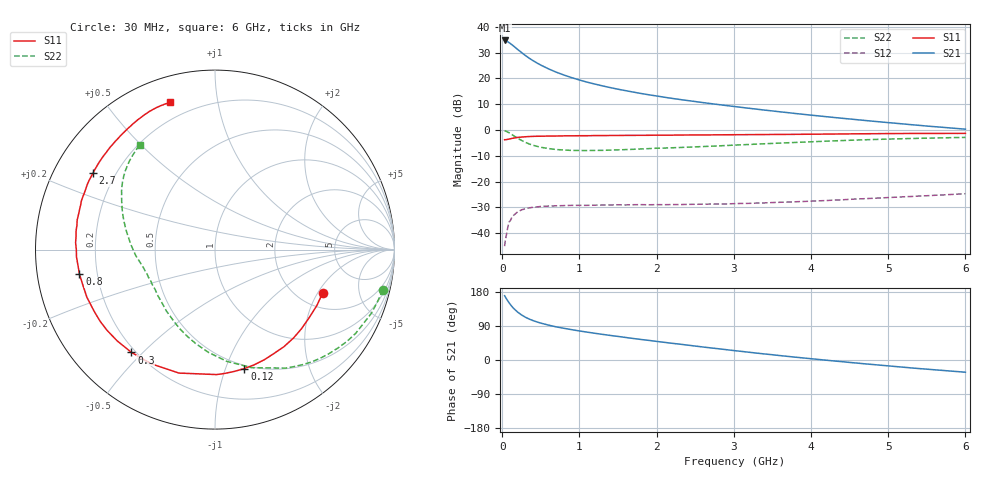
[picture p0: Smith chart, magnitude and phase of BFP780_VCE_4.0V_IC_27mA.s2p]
! Infineon Technologies  Discrete & RF Semiconductors
! BFP780
! VCE =  4.0 V,  IC =  27 mA
! Common Emitter S-Parameters:  Jul 2015
# GHz  S  MA  R  50
!  f  S11  S21  S12  S22
! GHz  MAG  ANG  MAG  ANG  MAG  ANG  MAG  ANG
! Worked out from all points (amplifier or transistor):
!   75 points, 30 MHz to 6 GHz, reference 50 ohm
!   highest |S21| = 34.7 dB at 30 MHz (marker M1)
!   |S21| within 3 dB of that: start of sweep to 179.7 MHz
!   unconditionally stable (mu >= 1): 2.194 GHz to end of sweep
!   at 150 MHz: K = 0.11, MSG = 32.7 dB, |S12| = -33.0 dB
!   at 2.3 GHz: K = 1.04, MAG = 19.1 dB, |S12| = -28.9 dB
!   at 6 GHz: K = 1.29, MAG = 9.3 dB, |S12| = -24.7 dB
!   S11 on the Smith chart (normalised r, x): 30 MHz: 2.66, -2.21; 120 MHz: 0.47, -1.16; 300 MHz: 0.18, -0.46; 800 MHz: 0.13, -0.09; 2.7 GHz: 0.12, +0.28; 6 GHz: 0.12, +0.73
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0.03  0.6467 -22.0  54.16 169.6  0.0056 72.4  0.9621 -13.5
0.05  0.6473 -35.6  52.85 162.6  0.0087 77.0  0.9406 -22.2
0.07  0.6588 -48.5  51.11 156.3  0.0127 67.3  0.9122 -30.7
0.09  0.6658 -60.6  48.89 150.4  0.0167 59.5  0.8771 -38.7
0.12  0.6826 -76.1  45.32 142.4  0.0197 53.7  0.8242 -49.5
0.15  0.6964 -89.2  41.74 135.6  0.0224 48.4  0.7695 -59.1
0.2  0.7167 -106.3  36.17 126.2  0.026 40.6  0.6892 -72.7
0.25  0.7286 -119.1  31.52 118.8  0.0283 35.3  0.626 -84.0
0.3  0.738 -129.1  27.64 112.8  0.0298 30.4  0.5736 -93.7
0.35  0.7453 -136.9  24.48 107.9  0.0309 27.3  0.5344 -101.6
0.4  0.7509 -143.1  21.92 103.9  0.0318 24.5  0.5042 -108.5
0.5  0.7558 -152.6  18.02 97.3  0.0329 20.4  0.4614 -119.6
0.6  0.7615 -159.6  15.22 92.0  0.0335 17.8  0.4358 -128.5
0.8  0.7675 -169.7  11.56 83.6  0.0342 14.5  0.4086 -141.3
1.1  0.7727 179.9  8.426 73.5  0.0346 12.2  0.3983 -154.3
1.5  0.781 170.1  6.15 62.2  0.0354 10.9  0.4102 -165.3
2.1  0.793 158.3  4.304 46.6  0.0356 11.1  0.4455 -176.7
2.7  0.8018 148.0  3.24 32.0  0.0366 12.5  0.4836 172.8
3.1  0.8097 141.5  2.735 22.7  0.0377 13.9  0.5151 165.9
4.1  0.8287 127.0  1.87 1.4  0.0423 16.9  0.5977 150.6
5.1  0.8523 115.4  1.346 -17.3  0.0498 16.5  0.6708 137.3
6  0.8581 107.0  1.035 -32.3  0.0581 13.3  0.7177 125.8
